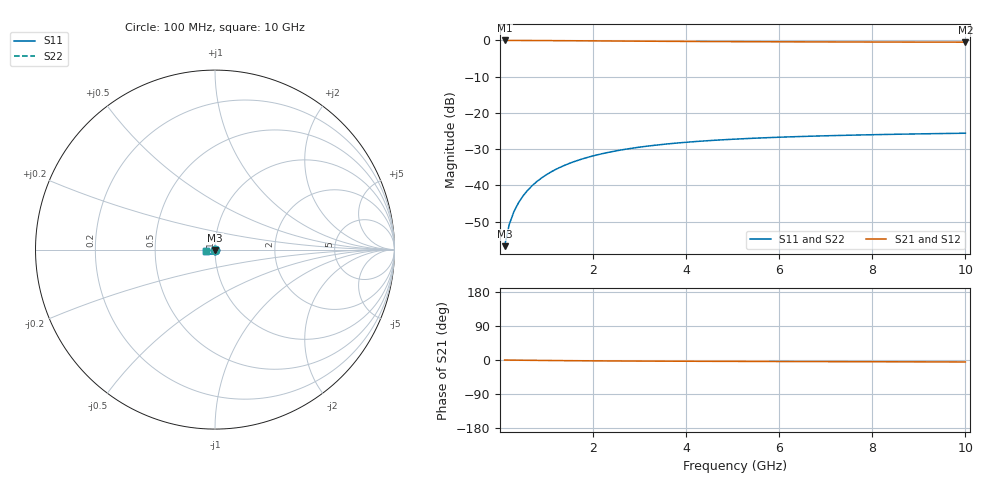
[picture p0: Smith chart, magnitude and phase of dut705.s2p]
! Touchstone file exported from HFSS 2024.1.0
!  File:  C:/UserFiles/LocalFiles/RDL_TSV_Batchsim/temp_TSV1_705_1779866782.aedt
!  Generated:  03:33:22 PM May 27, 2026
!  Design:  TSV1
!  Project:  temp_TSV1_705_1779866782
!  Setup:  Setup1
!  Solution:  Sweep
! Variables:
!  dtsv = 11.76um
!  hbump = 3um
!  htsv = 80.5um
!  lrdl = 252.1521522um
!  p = 40
!  p1 = 48.41um
!  t = 500um
!  trdl = 3um
!  wrdl = 24.89489489um
# GHz S MA R 50.000000
! Terminal data exported
! Port[1] = TSV22_T1
! Port[2] = TSV22_T2
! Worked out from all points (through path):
!   100 points, 100 MHz to 10 GHz, reference 50 ohm
!   highest |S21| = 0.00 dB at 100 MHz (marker M1); lowest = -0.5 dB at 10 GHz (marker M2)
!   lowest |S11| = -56.7 dB at 100 MHz (marker M3), VSWR 1.00, Z = 50 - j0.145 ohm
!   |S11| at or under -10 dB: start of sweep to end of sweep
!   |S22| runs from -56.7 to -25.6 dB; largest |S21 - S12| = 3.4e-15
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0.1  0.001454 -87.5  0.9998 -0.1  0.9998 -0.1  0.001454 -87.5
! Gamma 0 0 0 0
! Port Impedance 50 0 50 0
0.2  0.002904 -91.1  0.9997 -0.3  0.9997 -0.3  0.002904 -91.1
0.3  0.004352 -93.4  0.9995 -0.4  0.9995 -0.4  0.004352 -93.4
0.4  0.005796 -95.4  0.9992 -0.5  0.9992 -0.5  0.005796 -95.4
0.5  0.007228 -97.3  0.9988 -0.6  0.9988 -0.6  0.007228 -97.3
0.6  0.008646 -99.1  0.9983 -0.8  0.9983 -0.8  0.008646 -99.1
0.7  0.01004 -100.8  0.9978 -0.9  0.9978 -0.9  0.01004 -100.8
0.8  0.01142 -102.6  0.9972 -1.0  0.9972 -1.0  0.01142 -102.6
0.9  0.01277 -104.2  0.9965 -1.1  0.9965 -1.1  0.01277 -104.2
1.1  0.01539 -107.5  0.995 -1.4  0.995 -1.4  0.01539 -107.5
1.4  0.01909 -112.1  0.9925 -1.7  0.9925 -1.7  0.01909 -112.1
1.6  0.02139 -115.1  0.9907 -1.9  0.9907 -1.9  0.02139 -115.1
1.8  0.02355 -117.9  0.9888 -2.0  0.9888 -2.0  0.02355 -117.9
2.1  0.02653 -121.9  0.9858 -2.3  0.9858 -2.3  0.02653 -121.9
2.5  0.03004 -126.7  0.982 -2.5  0.982 -2.5  0.03004 -126.7
2.9  0.03307 -131.1  0.9782 -2.8  0.9782 -2.8  0.03307 -131.1
3.4  0.03627 -136.0  0.9739 -3.0  0.9739 -3.0  0.03627 -136.0
4.2  0.04032 -142.7  0.968 -3.4  0.968 -3.4  0.04032 -142.7
5.1  0.04371 -148.8  0.9626 -3.7  0.9626 -3.7  0.04371 -148.8
6.7  0.04784 -157.5  0.9556 -4.2  0.9556 -4.2  0.04784 -157.5
8.4  0.05068 -164.6  0.9506 -4.7  0.9506 -4.7  0.05068 -164.6
10  0.05254 -170.0  0.9474 -5.2  0.9474 -5.2  0.05254 -170.0
